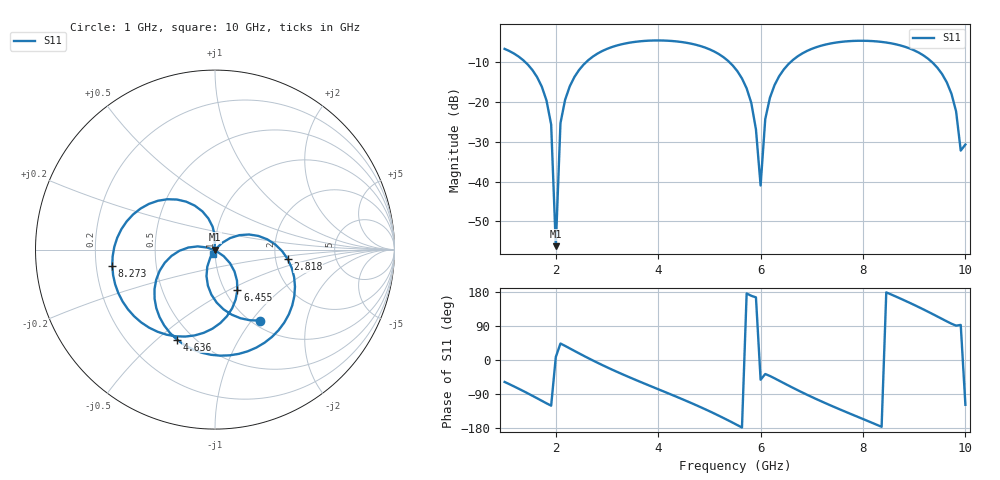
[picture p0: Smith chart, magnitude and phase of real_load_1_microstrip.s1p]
! Created Sun Oct  4 15:50:53 2026
# hz S ma R 50
! Port[1] Term1
! 1 Port Network Data from SP1.SP block
! freq  magS11  angS11
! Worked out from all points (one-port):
!   100 points, 1 GHz to 10 GHz, reference 50 ohm
!   lowest |S11| = -56.3 dB at 2 GHz (marker M1), VSWR 1.00, Z = 50.2 + j0.0212 ohm
!   |S11| at or under -10 dB: 1.407 GHz to 2.59 GHz (1.183 GHz wide, 59.2 % of centre); 5.393 GHz to 6.582 GHz (1.188 GHz wide, 19.8 % of centre); 9.352 GHz to end of sweep
!   S11 on the Smith chart (normalised r, x): 1 GHz: 1.08, -1.10; 2.818 GHz: 2.34, -0.30; 4.636 GHz: 0.41, -0.58; 6.455 GHz: 1.14, -0.55; 8.273 GHz: 0.27, -0.07; 10 GHz: 0.97, -0.05
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1e9  0.4669 -57.9
1.545455e9  0.2518 -94.6
1.818182e9  0.1047 -114.3
1.909091e9  0.05214 -120.5
2e9  0.001535 7.9
2.090909e9  0.05433 43.5
2.181818e9  0.1068 37.2
2.454545e9  0.2534 17.5
2.818182e9  0.4087 -7.5
3.272727e9  0.5312 -35.9
3.909091e9  0.5952 -72.1
4.454545e9  0.5698 -102.5
4.636364e9  0.5442 -113.0
5.545455e9  0.245 -171.7
5.818182e9  0.09761 169.5
5.909091e9  0.04521 165.3
6e9  0.008902 -52.1
6.090909e9  0.06109 -37.0
6.454545e9  0.258 -61.1
6.636364e9  0.3408 -73.7
7.181818e9  0.512 -108.8
7.818182e9  0.5882 -145.6
8.272727e9  0.5794 -171.1
8.909091e9  0.4735 151.1
9.545455e9  0.2247 108.3
9.818182e9  0.07634 90.6
9.909091e9  0.02451 92.6
1e10  0.02919 -118.2
